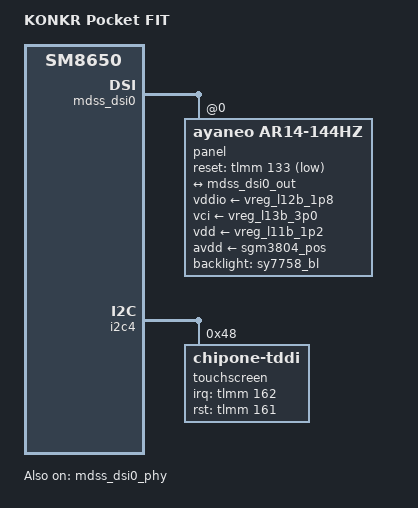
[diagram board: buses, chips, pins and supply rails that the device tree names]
// SPDX-License-Identifier: BSD-3-Clause
/*
 * Copyright (c) 2023, Linaro Limited
 * Copyright (c) 2025, Kancy Joe <kancy2333@outlook.com>
 */

/dts-v1/;

#include "sm8650-ayaneo-common.dtsi"

/ {
	model = "KONKR Pocket FIT";
	compatible = "konkr,pocket-fit", "qcom,sm8650";
};

&mdss_dsi0 {
	status = "okay";
	vdda-supply = <&vreg_l3i_1p2>;

	panel@0 {
		status = "okay";
		compatible = "ayaneo,ar14-144hz";
		reg = <0>;
		pinctrl-names = "default", "sleep";
		pinctrl-0 = <&disp0_reset_n_active>, <&mdp_vsync_active>;
		pinctrl-1 = <&disp0_reset_n_suspend>, <&mdp_vsync_suspend>;

		vddio-supply = <&vreg_l12b_1p8>;
		vci-supply = <&vreg_l13b_3p0>;
		vdd-supply = <&vreg_l11b_1p2>;
		avdd-supply = <&sgm3804_pos>;
		avee-supply = <&sgm3804_neg>;

		reset-gpios = <&tlmm 133 GPIO_ACTIVE_LOW>;
		backlight = <&sy7758_bl>;
		rotation = <90>;

		port {
			panel0_in: endpoint {
				remote-endpoint = <&mdss_dsi0_out>;
			};
		};
	};
};

&mdss_dsi0_out {
	remote-endpoint = <&panel0_in>;
	data-lanes = <0 1 2 3>;
};

&mdss_dsi0_phy {
	vdds-supply = <&vreg_l1i_0p88>;

	status = "okay";
};

/*
 * Touchscreen: ChipOne ICNL9922C TDDI controller.
 *
 * Wiring taken verbatim from the stock Android devicetree
 * (qupv3_1 i2c@a90000 -> mainline &i2c4, device @0x48):
 *   - IRQ:   TLMM gpio162  (ts_irq_default pin state, defined in the dtsi)
 *   - reset: TLMM gpio161  (ts_reset_default pin state, defined in the dtsi)
 *   - power: shared with the panel rails (TDDI), already enabled above,
 *            so no dedicated regulator supply is needed here.
 *
 * Properties use the vendor "chipone-tddi" binding to match the ported
 * chipone_tddi driver. These may be migrated to a mainline-style binding
 * (interrupts + reset-gpios) once the driver port is finalized.
 */
&i2c4 {
	touchscreen@48 {
		compatible = "chipone-tddi";
		reg = <0x48>;

		interrupt-parent = <&tlmm>;
		interrupts = <162 IRQ_TYPE_EDGE_FALLING>;

		chipone,irq-gpio = <&tlmm 162 GPIO_ACTIVE_HIGH>;
		chipone,rst-gpio = <&tlmm 161 GPIO_ACTIVE_HIGH>;
		chipone,x-res = <1080>;
		chipone,y-res = <1920>;

		pinctrl-names = "default";
		pinctrl-0 = <&ts_irq_default>, <&ts_reset_default>;

		status = "okay";
	};
};
